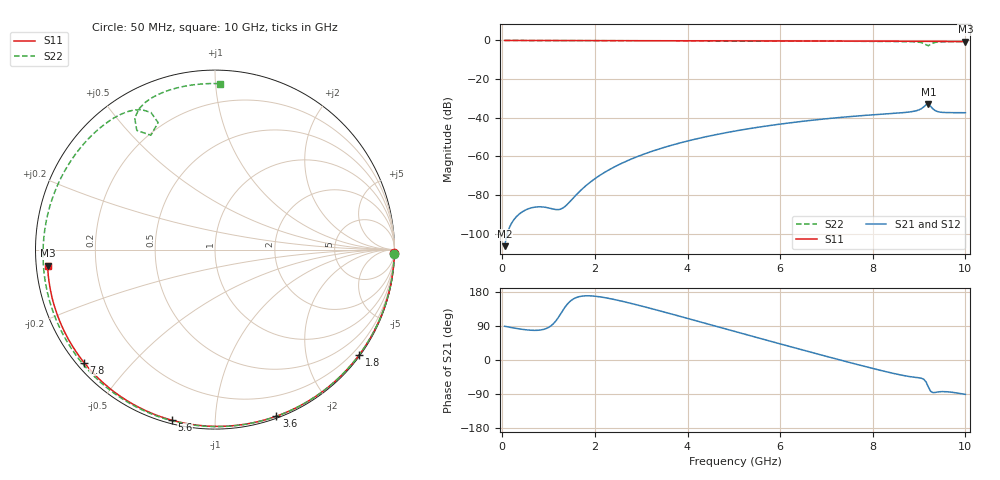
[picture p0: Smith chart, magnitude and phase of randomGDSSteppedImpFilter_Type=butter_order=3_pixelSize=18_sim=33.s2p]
! freq	dB(S11)	phase(S11)	dB(S12)	phase(S12)
!  dB(S21)	phase(S21)	dB(S22)	phase(S22)
!S-par simulation data
#  GHz  S  DB  R 50
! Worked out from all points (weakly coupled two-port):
!   200 points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, 50 MHz to 10 GHz, reference 50 ohm
!   highest |S21| = -32.93 dB at 9.2 GHz (marker M1); lowest = -106.4 dB at 50 MHz (marker M2)
!   lowest |S11| = -0.6 dB at 10 GHz (marker M3), VSWR 30.85, Z = 1.62 - j2.39 ohm
!   |S11| at or under -10 dB: nowhere
!   |S22| runs from -2.7 to 0.0 dB; largest |S21 - S12| = 0
!   S11 on the Smith chart (normalised r, x): 50 MHz: open; 1.8 GHz: 0.03, -3.08; 3.6 GHz: 0.02, -1.43; 5.6 GHz: 0.02, -0.78; 7.8 GHz: 0.02, -0.37; 10 GHz: 0.03, -0.05
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0.05  -0.00 -1.0  -106.39 89.0  -106.39 89.0  -0.00 -1.4
0.75  -0.02 -15.2  -86.08 78.3  -86.08 78.3  -0.03 -20.0
1.55  -0.04 -31.1  -81.04 162.1  -81.04 162.1  -0.05 -40.9
1.6  -0.04 -32.1  -79.78 164.9  -79.78 164.9  -0.05 -42.2
1.75  -0.04 -35.0  -76.28 169.0  -76.28 169.0  -0.06 -46.1
1.8  -0.05 -36.0  -75.23 169.4  -75.23 169.4  -0.06 -47.4
2.45  -0.06 -48.5  -65.04 158.8  -65.04 158.8  -0.08 -63.8
3.4  -0.09 -66.2  -56.01 129.7  -56.01 129.7  -0.12 -87.1
3.6  -0.09 -69.8  -54.57 123.2  -54.57 123.2  -0.12 -91.9
4.3  -0.12 -82.2  -50.31 99.7  -50.31 99.7  -0.15 -108.5
5.05  -0.15 -95.0  -46.75 74.3  -46.75 74.3  -0.20 -126.3
5.6  -0.17 -104.2  -44.61 55.8  -44.61 55.8  -0.23 -139.4
6.7  -0.24 -121.9  -41.23 19.4  -41.23 19.4  -0.32 -166.7
7.8  -0.32 -139.2  -38.80 -16.1  -38.80 -16.1  -0.44 163.0
8.35  -0.37 -147.9  -37.87 -32.7  -37.87 -32.7  -0.52 145.7
8.75  -0.42 -154.2  -37.11 -42.9  -37.11 -42.9  -0.62 131.4
9  -0.44 -158.2  -35.86 -47.0  -35.86 -47.0  -0.91 120.4
9.15  -0.46 -160.6  -33.30 -57.8  -33.30 -57.8  -2.21 114.1
9.2  -0.46 -161.4  -32.93 -71.2  -32.93 -71.2  -2.73 119.3
9.3  -0.47 -163.0  -35.42 -86.0  -35.42 -86.0  -1.32 121.4
9.55  -0.51 -167.1  -37.26 -83.4  -37.26 -83.4  -0.70 107.8
10  -0.56 -174.5  -37.36 -90.8  -37.36 -90.8  -0.68 88.1
